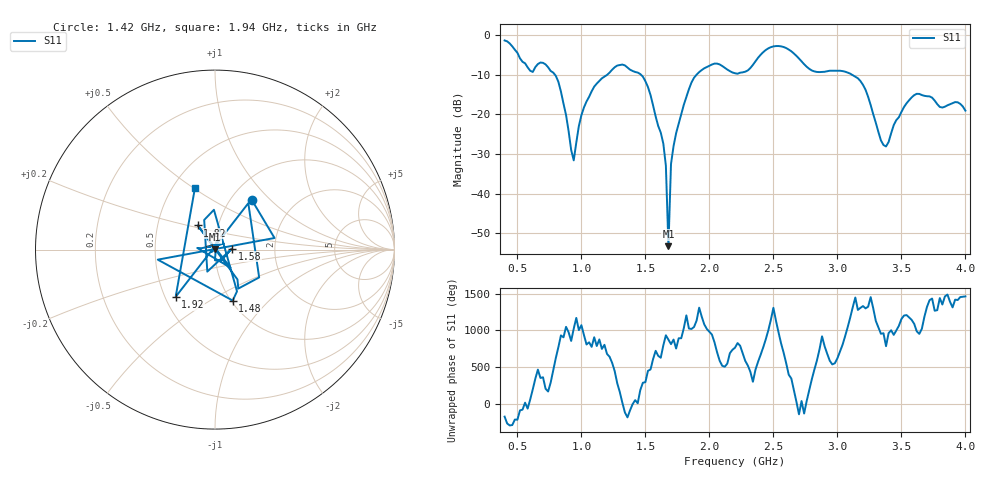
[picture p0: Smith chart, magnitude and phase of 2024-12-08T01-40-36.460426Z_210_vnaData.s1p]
!Created with skrf (http://scikit-rf.org).
# Hz S RI R 50.0
!freq ReS11 ImS11
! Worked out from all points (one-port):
!   181 points, 400 MHz to 4 GHz, reference 50 ohm
!   lowest |S11| = -53.2 dB at 1.68 GHz (marker M1), VSWR 1.00, Z = 49.8 + j0.0912 ohm
!   |S11| at or under -10 dB: 793.9 MHz to 1.201 GHz (407.1 MHz wide, 40.8 % of centre); 1.466 GHz to 1.899 GHz (432.3 MHz wide, 25.7 % of centre); 3.116 GHz to end of sweep
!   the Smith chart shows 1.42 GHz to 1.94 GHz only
!   S11 on the Smith chart (normalised r, x): 1.42 GHz: 1.25, +0.78; 1.48 GHz: 1.02, -0.64; 1.58 GHz: 1.21, +0.01; 1.82 GHz: 0.80, +0.22; 1.92 GHz: 0.57, -0.34; 1.94 GHz: 0.64, +0.51
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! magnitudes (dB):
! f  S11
! 400 MHz  -1.3
! 600 MHz  -9.0
! 780 MHz  -9.4
! 860 MHz  -17.3
! 940 MHz  -31.6
! 980 MHz  -22.9
! 1.04 GHz  -16.7
! 1.3 GHz  -7.5
! 1.42 GHz  -9.3
! 1.48 GHz  -10.4
! 1.58 GHz  -20.5
! 1.64 GHz  -27.4
! 1.66 GHz  -32.9
! 1.68 GHz  -53.2
! 1.7 GHz  -32.5
! 1.76 GHz  -22.4
! 1.82 GHz  -15.6
! 1.92 GHz  -9.3
! 1.94 GHz  -8.8
! 2.2 GHz  -9.6
! 2.48 GHz  -3.0
! 2.66 GHz  -4.6
! 2.82 GHz  -9.1
! 3.1 GHz  -9.7
! 3.22 GHz  -13.8
! 3.38 GHz  -28.1
! 3.56 GHz  -16.4
! 4 GHz  -19.0
